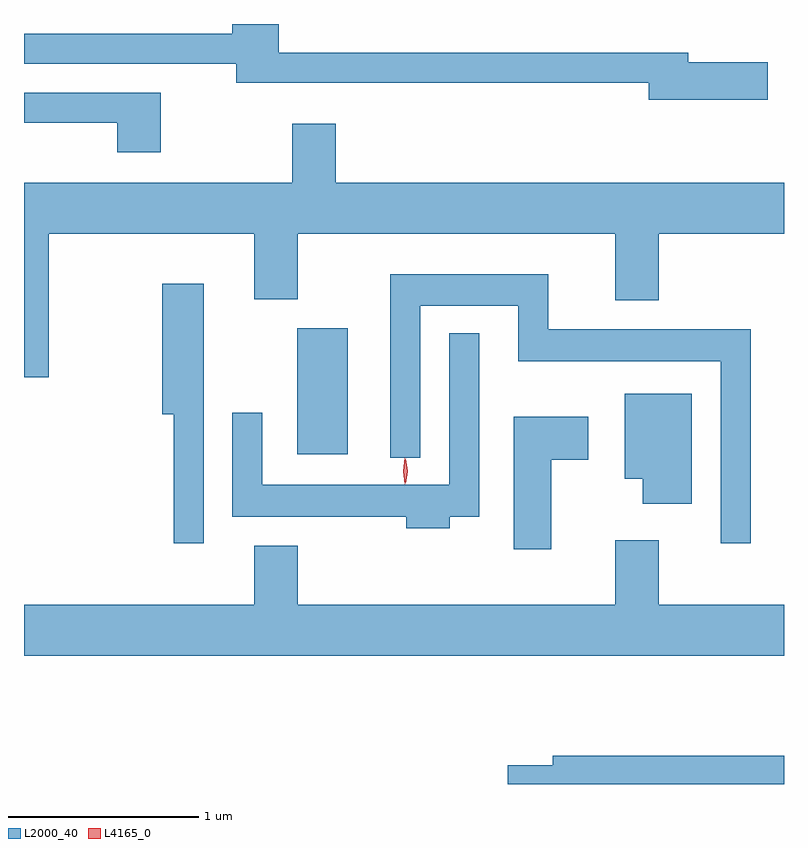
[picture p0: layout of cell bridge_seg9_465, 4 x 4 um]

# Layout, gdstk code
import gdstk
lib = gdstk.Library(unit=1e-6, precision=1e-09)
def R(c, l, rs):  # rectangles x0, y0, x1, y1
    for r in rs: c.add(gdstk.rectangle(r[:2], r[2:], *l))
def P(c, l, *ps):  # polygons
    for p in ps: c.add(gdstk.Polygon(p, *l))
L2000_40 = (2000, 40)
L4165_0 = (4165, 0)

bridge_seg9_465 = lib.new_cell('bridge_seg9_465')
R(bridge_seg9_465, L2000_40, [(564.546,1979.556,564.814,1980.219)])
P(bridge_seg9_465, L2000_40, [(567.024,1981.619),(566.604,1981.619),(566.604,1981.669),(564.449,1981.669),(564.449,1981.82),(564.206,1981.82),(564.206,1981.769),(563.109,1981.769),(563.109,1981.611),(564.226,1981.611),(564.226,1981.511),(566.396,1981.511),(566.396,1981.421),(567.024,1981.421)],
  [(563.829,1981.459),(563.109,1981.459),(563.109,1981.301),(563.601,1981.301),(563.601,1981.146),(563.829,1981.146)],
  [(563.239,1980.716),(564.321,1980.716),(564.321,1980.371),(564.549,1980.371),(564.549,1980.716),(566.221,1980.716),(566.221,1980.366),(566.449,1980.366),(566.449,1980.716),(567.109,1980.716),(567.109,1980.984),(564.749,1980.984),(564.749,1981.294),(564.521,1981.294),(564.521,1980.984),(563.109,1980.984),(563.109,1979.961),(563.239,1979.961)],
  [(566.934,1980.214),(565.869,1980.214),(565.869,1980.504),(565.036,1980.504),(565.036,1979.538),(565.194,1979.538),(565.194,1980.336),(565.711,1980.336),(565.711,1980.046),(566.776,1980.046),(566.776,1979.088),(566.934,1979.088)],
  [(564.054,1980.454),(563.836,1980.454),(563.836,1979.766),(563.896,1979.766),(563.896,1979.088),(564.054,1979.088)],
  [(565.349,1979.226),(565.504,1979.226),(565.504,1980.193),(565.346,1980.193),(565.346,1979.394),(564.364,1979.394),(564.364,1979.773),(564.206,1979.773),(564.206,1979.226),(565.121,1979.226),(565.121,1979.166),(565.349,1979.166)],
  [(566.624,1979.874),(566.271,1979.874),(566.271,1979.426),(566.366,1979.426),(566.366,1979.296),(566.624,1979.296)],
  [(565.884,1979.526),(566.079,1979.526),(566.079,1979.754),(565.686,1979.754),(565.686,1979.056),(565.884,1979.056)],
  [(567.109,1978.764),(566.449,1978.764),(566.449,1979.104),(566.221,1979.104),(566.221,1978.764),(564.549,1978.764),(564.549,1979.074),(564.321,1979.074),(564.321,1978.764),(563.109,1978.764),(563.109,1978.496),(567.109,1978.496)],
  [(567.109,1977.969),(565.891,1977.969),(565.891,1977.919),(565.656,1977.919),(565.656,1977.82),(567.109,1977.82)])
P(bridge_seg9_465, L4165_0, [(565.113,1979.397),(565.104,1979.466),(565.113,1979.536),(565.114,1979.536),(565.114,1979.536),(565.124,1979.466),(565.114,1979.397),(565.114,1979.397)],
  [(565.118,1979.399),(565.118,1979.4),(565.108,1979.466),(565.117,1979.532),(565.118,1979.533),(565.118,1979.532),(565.128,1979.466),(565.118,1979.4)])

lib.write_gds('bridge_seg9_465.gds')
